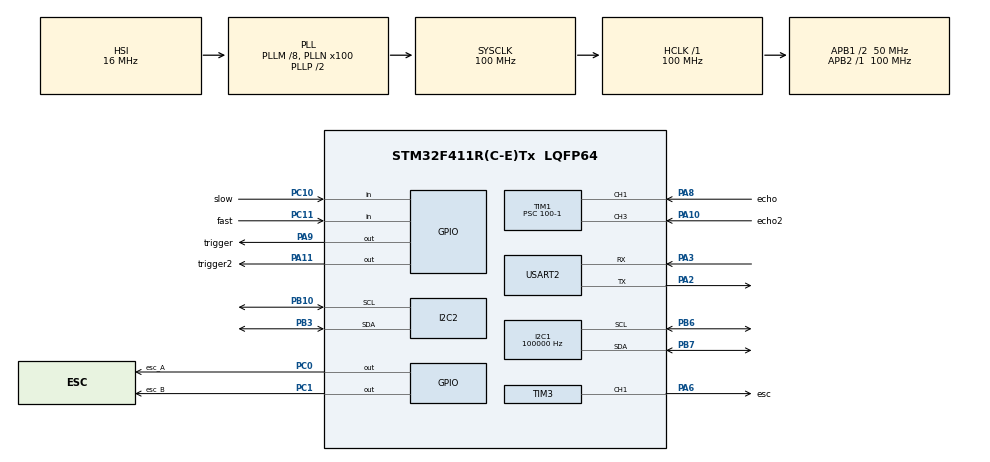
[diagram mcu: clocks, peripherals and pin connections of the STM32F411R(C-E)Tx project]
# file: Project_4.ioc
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I2C1.ClockSpeed=100000
I2C1.I2C_Mode=I2C_Fast
Mcu.Family=STM32F4
Mcu.Name=STM32F411R(C-E)Tx
Mcu.Package=LQFP64
NVIC.PriorityGroup=NVIC_PRIORITYGROUP_4
NVIC.TIM1_CC_IRQn=true\:0\:0\:false\:false\:true\:true\:true\:true
NVIC.TIM1_TRG_COM_TIM11_IRQn=true\:0\:0\:false\:false\:true\:true\:true\:true
NVIC.TIM3_IRQn=true\:0\:0\:false\:false\:true\:true\:true\:true
NVIC.USART2_IRQn=true\:0\:0\:false\:false\:true\:true\:true\:true
PA10.GPIO_Label=echo2
PA10.Signal=S_TIM1_CH3
PA11.GPIO_Label=trigger2
PA11.Signal=GPIO_Output
PA2.Mode=Asynchronous
PA2.Signal=USART2_TX
PA3.Mode=Asynchronous
PA3.Signal=USART2_RX
PA6.GPIO_Label=esc
PA6.Signal=S_TIM3_CH1
PA8.GPIO_Label=echo
PA8.Signal=S_TIM1_CH1
PA9.GPIO_Label=trigger
PA9.Signal=GPIO_Output
PB10.GPIO_Pu=GPIO_PULLUP
PB10.Mode=I2C
PB10.Signal=I2C2_SCL
PB3.GPIO_Pu=GPIO_PULLUP
PB3.Mode=I2C
PB3.Signal=I2C2_SDA
PB6.GPIO_Pu=GPIO_PULLUP
PB6.Mode=I2C
PB6.Signal=I2C1_SCL
PB7.GPIO_Pu=GPIO_PULLUP
PB7.Mode=I2C
PB7.Signal=I2C1_SDA
PC0.GPIO_Label=esc_A
PC0.Signal=GPIO_Output
PC1.GPIO_Label=esc_B
PC1.Signal=GPIO_Output
PC10.GPIO_Label=slow
PC10.GPIO_PuPd=GPIO_PULLUP
PC10.Signal=GPIO_Input
PC11.GPIO_Label=fast
PC11.GPIO_PuPd=GPIO_PULLUP
PC11.Signal=GPIO_Input
ProjectManager.HeapSize=0x200
ProjectManager.StackSize=0x400
ProjectManager.TargetToolchain=STM32CubeIDE
RCC.48MHZClocksFreq_Value=50000000
RCC.AHBFreq_Value=100000000
RCC.APB1CLKDivider=RCC_HCLK_DIV2
RCC.APB1Freq_Value=50000000
RCC.APB1TimFreq_Value=100000000
RCC.APB2Freq_Value=100000000
RCC.APB2TimFreq_Value=100000000
RCC.CortexFreq_Value=100000000
RCC.HCLKFreq_Value=100000000
RCC.HSE_VALUE=25000000
RCC.HSI_VALUE=16000000
RCC.LSE_VALUE=32768
RCC.PLLM=8
RCC.PLLN=100
RCC.SYSCLKFreq_VALUE=100000000
RCC.SYSCLKSource=RCC_SYSCLKSOURCE_PLLCLK
RCC.VCOOutputFreq_Value=200000000
SH.S_TIM1_CH1.0=TIM1_CH1,Input_Capture1_from_TI1
SH.S_TIM1_CH3.0=TIM1_CH3,Input_Capture3_from_TI3
SH.S_TIM3_CH1.0=TIM3_CH1,PWM Generation1 CH1
TIM1.Channel-Input_Capture1_from_TI1=TIM_CHANNEL_1
TIM1.Channel-Input_Capture3_from_TI3=TIM_CHANNEL_3
TIM1.Prescaler=100-1
TIM11.Prescaler=100-1
TIM3.Channel-PWM\ Generation1\ CH1=TIM_CHANNEL_1
TIM3.Period=1000-1
TIM3.Prescaler=2-1
USART2.VirtualMode=VM_ASYNC
VP_TIM11_VS_ClockSourceINT.Mode=Enable_Timer
VP_TIM1_VS_ClockSourceINT.Mode=Internal
VP_TIM3_VS_ClockSourceINT.Mode=Internal
board=custom

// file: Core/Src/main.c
/* USER CODE BEGIN Header */
/**
 ******************************************************************************
 * @file           : main.c
 * @brief          : Main program body
 ******************************************************************************
 * @attention
 *
 * Copyright (c) 2024 STMicroelectronics.
 * All rights reserved.
 *
 * This software is licensed under terms that can be found in the LICENSE file
 * in the root directory of this software component.
 * If no LICENSE file comes with this software, it is provided AS-IS.
 *
 ******************************************************************************
 */
/* USER CODE END Header */
#include "main.h"

/* USER CODE BEGIN Includes */
#include "uart.h"
#include "Escalator.h"
#include "I2C_CLCD.h"
#include "RTC.h"
/* USER CODE END Includes */

I2C_HandleTypeDef hi2c1;
I2C_HandleTypeDef hi2c2;

TIM_HandleTypeDef htim1;
TIM_HandleTypeDef htim3;
TIM_HandleTypeDef htim11;

UART_HandleTypeDef huart2;

void SystemClock_Config(void);
static void MX_GPIO_Init(void);
static void MX_TIM1_Init(void);
static void MX_TIM3_Init(void);
static void MX_TIM11_Init(void);
static void MX_USART2_UART_Init(void);
static void MX_I2C1_Init(void);
static void MX_I2C2_Init(void);

int main(void) {

	/* MCU Configuration--------------------------------------------------------*/

	/* Reset of all peripherals, Initializes the Flash interface and the Systick. */
	HAL_Init();

	/* Configure the system clock */
	SystemClock_Config();

	/* Initialize all configured peripherals */
	MX_GPIO_Init();
	MX_TIM1_Init();
	MX_TIM3_Init();
	MX_TIM11_Init();
	MX_USART2_UART_Init();
	MX_I2C1_Init();
	MX_I2C2_Init();
	/* USER CODE BEGIN 2 */
	initUart(&huart2);
	initMotor(&htim3);
	initUltraSonic(&htim1, &htim11);
	initRTC(&hi2c1);
	initCLCD(&hi2c1, &hi2c2);
	HAL_TIM_Base_Start(&htim11);
	HAL_TIM_IC_Start_IT(&htim1, TIM_CHANNEL_1);
	HAL_TIM_IC_Start_IT(&htim1, TIM_CHANNEL_3);
	HAL_TIM_PWM_Start(&htim3, TIM_CHANNEL_1);

	//RTC 시간 초기화
	timeinit();

	I2C_CLCD_init();
	I2C_CLCD_GotoXY(0, 0);
	I2C_CLCD_PutStr("               ");
	I2C_CLCD_GotoXY(0, 1);
	I2C_CLCD_PutStr("               ");

	I2C_CLCD_init2();
	I2C_CLCD_GotoXY2(0, 0);
	I2C_CLCD_PutStr2("               ");
	I2C_CLCD_GotoXY2(0, 1);
	I2C_CLCD_PutStr2("               ");
	I2C_CLCD_GotoXY2(0, 1);
	//I2C_CLCD_PutStr2("Hello World");
	/* USER CODE END 2 */

	/* Infinite loop */
	/* USER CODE BEGIN WHILE */
	while (1) {
		timeLCDprint();
		EscalatorSpeedEventCheck();
		EscalatorStateCheck();
		EscalatorRUN();

		/* USER CODE END WHILE */

	}
}

void SystemClock_Config(void) {
	RCC_OscInitTypeDef RCC_OscInitStruct = { 0 };
	RCC_ClkInitTypeDef RCC_ClkInitStruct = { 0 };

	/** Configure the main internal regulator output voltage
	 */
	__HAL_RCC_PWR_CLK_ENABLE();
	__HAL_PWR_VOLTAGESCALING_CONFIG(PWR_REGULATOR_VOLTAGE_SCALE1);

	/** Initializes the RCC Oscillators according to the specified parameters
	 * in the RCC_OscInitTypeDef structure.
	 */
	RCC_OscInitStruct.OscillatorType = RCC_OSCILLATORTYPE_HSI;
	RCC_OscInitStruct.HSIState = RCC_HSI_ON;
	RCC_OscInitStruct.HSICalibrationValue = RCC_HSICALIBRATION_DEFAULT;
	RCC_OscInitStruct.PLL.PLLState = RCC_PLL_ON;
	RCC_OscInitStruct.PLL.PLLSource = RCC_PLLSOURCE_HSI;
	RCC_OscInitStruct.PLL.PLLM = 8;
	RCC_OscInitStruct.PLL.PLLN = 100;
	RCC_OscInitStruct.PLL.PLLP = RCC_PLLP_DIV2;
	RCC_OscInitStruct.PLL.PLLQ = 4;
	if (HAL_RCC_OscConfig(&RCC_OscInitStruct) != HAL_OK) {
		Error_Handler();
	}

	/** Initializes the CPU, AHB and APB buses clocks
	 */
	RCC_ClkInitStruct.ClockType = RCC_CLOCKTYPE_HCLK | RCC_CLOCKTYPE_SYSCLK
			| RCC_CLOCKTYPE_PCLK1 | RCC_CLOCKTYPE_PCLK2;
	RCC_ClkInitStruct.SYSCLKSource = RCC_SYSCLKSOURCE_PLLCLK;
	RCC_ClkInitStruct.AHBCLKDivider = RCC_SYSCLK_DIV1;
	RCC_ClkInitStruct.APB1CLKDivider = RCC_HCLK_DIV2;
	RCC_ClkInitStruct.APB2CLKDivider = RCC_HCLK_DIV1;

	if (HAL_RCC_ClockConfig(&RCC_ClkInitStruct, FLASH_LATENCY_3) != HAL_OK) {
		Error_Handler();
	}
}

static void MX_I2C1_Init(void) {

	hi2c1.Instance = I2C1;
	hi2c1.Init.ClockSpeed = 100000;
	hi2c1.Init.DutyCycle = I2C_DUTYCYCLE_2;
	hi2c1.Init.OwnAddress1 = 0;
	hi2c1.Init.AddressingMode = I2C_ADDRESSINGMODE_7BIT;
	hi2c1.Init.DualAddressMode = I2C_DUALADDRESS_DISABLE;
	hi2c1.Init.OwnAddress2 = 0;
	hi2c1.Init.GeneralCallMode = I2C_GENERALCALL_DISABLE;
	hi2c1.Init.NoStretchMode = I2C_NOSTRETCH_DISABLE;
	if (HAL_I2C_Init(&hi2c1) != HAL_OK) {
		Error_Handler();
	}

}

static void MX_I2C2_Init(void) {

	hi2c2.Instance = I2C2;
	hi2c2.Init.ClockSpeed = 100000;
	hi2c2.Init.DutyCycle = I2C_DUTYCYCLE_2;
	hi2c2.Init.OwnAddress1 = 0;
	hi2c2.Init.AddressingMode = I2C_ADDRESSINGMODE_7BIT;
	hi2c2.Init.DualAddressMode = I2C_DUALADDRESS_DISABLE;
	hi2c2.Init.OwnAddress2 = 0;
	hi2c2.Init.GeneralCallMode = I2C_GENERALCALL_DISABLE;
	hi2c2.Init.NoStretchMode = I2C_NOSTRETCH_DISABLE;
	if (HAL_I2C_Init(&hi2c2) != HAL_OK) {
		Error_Handler();
	}

}

static void MX_TIM1_Init(void) {

	TIM_ClockConfigTypeDef sClockSourceConfig = { 0 };
	TIM_MasterConfigTypeDef sMasterConfig = { 0 };
	TIM_IC_InitTypeDef sConfigIC = { 0 };

	htim1.Instance = TIM1;
	htim1.Init.Prescaler = 100 - 1;
	htim1.Init.CounterMode = TIM_COUNTERMODE_UP;
	htim1.Init.Period = 65535;
	htim1.Init.ClockDivision = TIM_CLOCKDIVISION_DIV1;
	htim1.Init.RepetitionCounter = 0;
	htim1.Init.AutoReloadPreload = TIM_AUTORELOAD_PRELOAD_DISABLE;
	if (HAL_TIM_Base_Init(&htim1) != HAL_OK) {
		Error_Handler();
	}
	sClockSourceConfig.ClockSource = TIM_CLOCKSOURCE_INTERNAL;
	if (HAL_TIM_ConfigClockSource(&htim1, &sClockSourceConfig) != HAL_OK) {
		Error_Handler();
	}
	if (HAL_TIM_IC_Init(&htim1) != HAL_OK) {
		Error_Handler();
	}
	sMasterConfig.MasterOutputTrigger = TIM_TRGO_RESET;
	sMasterConfig.MasterSlaveMode = TIM_MASTERSLAVEMODE_DISABLE;
	if (HAL_TIMEx_MasterConfigSynchronization(&htim1, &sMasterConfig) != HAL_OK) {
		Error_Handler();
	}
	sConfigIC.ICPolarity = TIM_INPUTCHANNELPOLARITY_RISING;
	sConfigIC.ICSelection = TIM_ICSELECTION_DIRECTTI;
	sConfigIC.ICPrescaler = TIM_ICPSC_DIV1;
	sConfigIC.ICFilter = 0;
	if (HAL_TIM_IC_ConfigChannel(&htim1, &sConfigIC, TIM_CHANNEL_1) != HAL_OK) {
		Error_Handler();
	}
	if (HAL_TIM_IC_ConfigChannel(&htim1, &sConfigIC, TIM_CHANNEL_3) != HAL_OK) {
		Error_Handler();
	}

}

static void MX_TIM3_Init(void) {

	TIM_ClockConfigTypeDef sClockSourceConfig = { 0 };
	TIM_MasterConfigTypeDef sMasterConfig = { 0 };
	TIM_OC_InitTypeDef sConfigOC = { 0 };

	htim3.Instance = TIM3;
	htim3.Init.Prescaler = 2 - 1;
	htim3.Init.CounterMode = TIM_COUNTERMODE_UP;
	htim3.Init.Period = 1000 - 1;
	htim3.Init.ClockDivision = TIM_CLOCKDIVISION_DIV1;
	htim3.Init.AutoReloadPreload = TIM_AUTORELOAD_PRELOAD_DISABLE;
	if (HAL_TIM_Base_Init(&htim3) != HAL_OK) {
		Error_Handler();
	}
	sClockSourceConfig.ClockSource = TIM_CLOCKSOURCE_INTERNAL;
	if (HAL_TIM_ConfigClockSource(&htim3, &sClockSourceConfig) != HAL_OK) {
		Error_Handler();
	}
	if (HAL_TIM_PWM_Init(&htim3) != HAL_OK) {
		Error_Handler();
	}
	sMasterConfig.MasterOutputTrigger = TIM_TRGO_RESET;
	sMasterConfig.MasterSlaveMode = TIM_MASTERSLAVEMODE_DISABLE;
	if (HAL_TIMEx_MasterConfigSynchronization(&htim3, &sMasterConfig) != HAL_OK) {
		Error_Handler();
	}
	sConfigOC.OCMode = TIM_OCMODE_PWM1;
	sConfigOC.Pulse = 0;
	sConfigOC.OCPolarity = TIM_OCPOLARITY_HIGH;
	sConfigOC.OCFastMode = TIM_OCFAST_DISABLE;
	if (HAL_TIM_PWM_ConfigChannel(&htim3, &sConfigOC, TIM_CHANNEL_1) != HAL_OK) {
		Error_Handler();
	}
	HAL_TIM_MspPostInit(&htim3);

}

static void MX_TIM11_Init(void) {

	htim11.Instance = TIM11;
	htim11.Init.Prescaler = 100 - 1;
	htim11.Init.CounterMode = TIM_COUNTERMODE_UP;
	htim11.Init.Period = 65535;
	htim11.Init.ClockDivision = TIM_CLOCKDIVISION_DIV1;
	htim11.Init.AutoReloadPreload = TIM_AUTORELOAD_PRELOAD_DISABLE;
	if (HAL_TIM_Base_Init(&htim11) != HAL_OK) {
		Error_Handler();
	}

}

static void MX_USART2_UART_Init(void) {

	huart2.Instance = USART2;
	huart2.Init.BaudRate = 115200;
	huart2.Init.WordLength = UART_WORDLENGTH_8B;
	huart2.Init.StopBits = UART_STOPBITS_1;
	huart2.Init.Parity = UART_PARITY_NONE;
	huart2.Init.Mode = UART_MODE_TX_RX;
	huart2.Init.HwFlowCtl = UART_HWCONTROL_NONE;
	huart2.Init.OverSampling = UART_OVERSAMPLING_16;
	if (HAL_UART_Init(&huart2) != HAL_OK) {
		Error_Handler();
	}

}

static void MX_GPIO_Init(void) {
	GPIO_InitTypeDef GPIO_InitStruct = { 0 };

	/* GPIO Ports Clock Enable */
	__HAL_RCC_GPIOC_CLK_ENABLE();
	__HAL_RCC_GPIOA_CLK_ENABLE();
	__HAL_RCC_GPIOB_CLK_ENABLE();

	/*Configure GPIO pin Output Level */
	HAL_GPIO_WritePin(GPIOC, esc_A_Pin | esc_B_Pin, GPIO_PIN_RESET);

	/*Configure GPIO pin Output Level */
	HAL_GPIO_WritePin(GPIOA, trigger_Pin | trigger2_Pin, GPIO_PIN_RESET);

	/*Configure GPIO pins : esc_A_Pin esc_B_Pin */
	GPIO_InitStruct.Pin = esc_A_Pin | esc_B_Pin;
	GPIO_InitStruct.Mode = GPIO_MODE_OUTPUT_PP;
	GPIO_InitStruct.Pull = GPIO_NOPULL;
	GPIO_InitStruct.Speed = GPIO_SPEED_FREQ_LOW;
	HAL_GPIO_Init(GPIOC, &GPIO_InitStruct);

	/*Configure GPIO pins : trigger_Pin trigger2_Pin */
	GPIO_InitStruct.Pin = trigger_Pin | trigger2_Pin;
	GPIO_InitStruct.Mode = GPIO_MODE_OUTPUT_PP;
	GPIO_InitStruct.Pull = GPIO_NOPULL;
	GPIO_InitStruct.Speed = GPIO_SPEED_FREQ_LOW;
	HAL_GPIO_Init(GPIOA, &GPIO_InitStruct);

	/*Configure GPIO pins : slow_Pin fast_Pin */
	GPIO_InitStruct.Pin = slow_Pin | fast_Pin;
	GPIO_InitStruct.Mode = GPIO_MODE_INPUT;
	GPIO_InitStruct.Pull = GPIO_PULLUP;
	HAL_GPIO_Init(GPIOC, &GPIO_InitStruct);

}

void Error_Handler(void) {
	__disable_irq();
	while (1) {
	}
}
